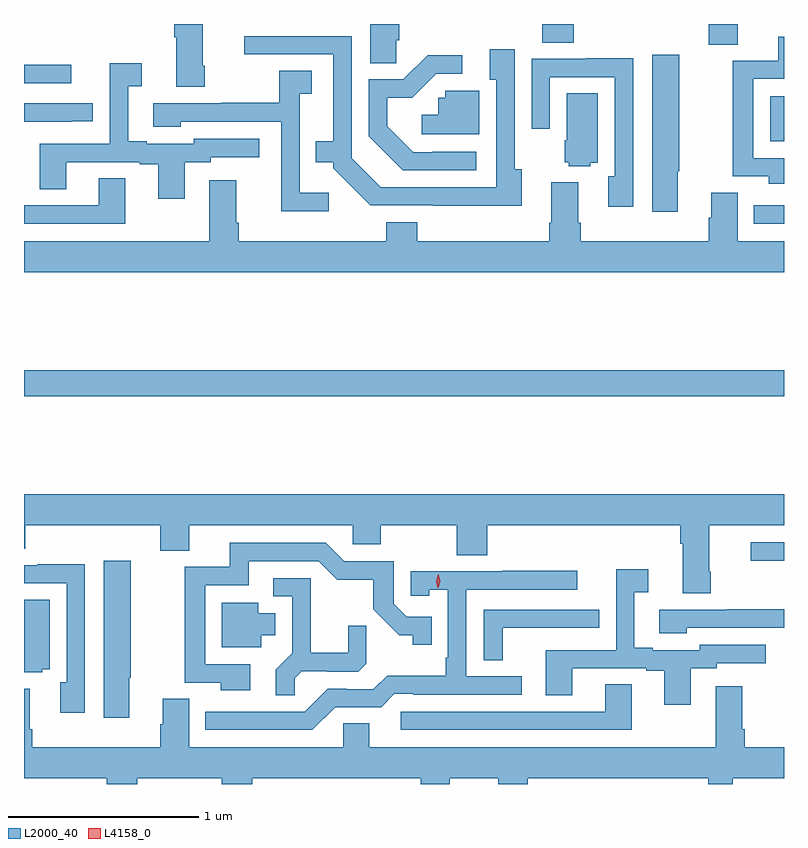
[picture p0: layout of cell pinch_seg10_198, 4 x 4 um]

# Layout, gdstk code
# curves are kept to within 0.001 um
import gdstk
lib = gdstk.Library(unit=1e-6, precision=1e-09)
def R(c, l, rs):  # rectangles x0, y0, x1, y1
    for r in rs: c.add(gdstk.rectangle(r[:2], r[2:], *l))
def P(c, l, *ps):  # polygons
    for p in ps: c.add(gdstk.Polygon(p, *l))
L2000_40 = (2000, 40)
L4158_0 = (4158, 0)

pinch_seg10_198 = lib.new_cell('pinch_seg10_198')
R(pinch_seg10_198, L2000_40, [(780.597,1266.831,780.773,1266.927), (776.773,1267.696,780.773,1267.832), (780.614,1268.604,780.773,1268.7), (780.701,1269.038,780.773,1269.274), (776.773,1269.342,777.022,1269.441), (780.377,1269.547,780.529,1269.655), (779.501,1269.556,779.666,1269.655)])
P(pinch_seg10_198, L2000_40, [(777.723,1269.436),(777.715,1269.436),(777.715,1269.655),(777.563,1269.655),(777.563,1269.584),(777.575,1269.584),(777.575,1269.324),(777.723,1269.324)],
  [(778.733,1269.57),(778.748,1269.57),(778.748,1269.655),(778.595,1269.655),(778.595,1269.448),(778.733,1269.448)],
  [(779.392,1268.89),(779.355,1268.89),(779.355,1269.523),(779.225,1269.523),(779.225,1269.362),(779.259,1269.362),(779.259,1268.796),(778.65,1268.796),(778.497,1268.949),(778.497,1269.591),(777.933,1269.591),(777.933,1269.495),(778.4,1269.495),(778.4,1269.037),(778.309,1269.037),(778.309,1268.927),(778.401,1268.927),(778.401,1268.895),(778.596,1268.7),(779.392,1268.699)],
  [(780.773,1268.949),(780.612,1268.949),(780.612,1269.366),(780.773,1269.366),(780.773,1269.588),(780.743,1269.588),(780.743,1269.462),(780.504,1269.462),(780.504,1268.853),(780.694,1268.853),(780.694,1268.813),(780.773,1268.813)],
  [(780.214,1268.879),(780.222,1268.879),(780.222,1269.493),(780.08,1269.493),(780.08,1268.667),(780.214,1268.667)],
  [(779.152,1268.982),(778.921,1268.982),(778.921,1268.979),(778.821,1268.979),(778.684,1269.116),(778.684,1269.266),(778.817,1269.266),(778.944,1269.393),(779.08,1269.393),(779.08,1269.491),(778.898,1269.491),(778.77,1269.363),(778.587,1269.363),(778.587,1269.065),(778.766,1268.886),(779.152,1268.886)],
  [(779.979,1269.475),(779.729,1269.475),(779.729,1269.471),(779.445,1269.471),(779.445,1269.105),(779.541,1269.105),(779.541,1269.375),(779.883,1269.375),(779.883,1268.855),(779.849,1268.855),(779.849,1268.694),(779.979,1268.694)],
  [(777.619,1268.928),(777.756,1268.928),(777.756,1268.955),(778.012,1268.955),(778.012,1269.051),(777.666,1269.051),(777.666,1269.024),(777.418,1269.024),(777.418,1269.037),(777.322,1269.037),(777.322,1269.328),(777.394,1269.328),(777.394,1269.448),(777.225,1269.448),(777.225,1269.024),(776.855,1269.024),(776.855,1268.785),(776.995,1268.785),(776.995,1268.928),(777.383,1268.928),(777.383,1268.916),(777.479,1268.916),(777.479,1268.736),(777.619,1268.736)],
  [(778.378,1268.767),(778.224,1268.767),(778.224,1269.289),(778.288,1269.289),(778.288,1269.41),(778.116,1269.41),(778.116,1269.24),(777.811,1269.24),(777.811,1269.237),(777.453,1269.237),(777.453,1269.113),(777.597,1269.113),(777.597,1269.141),(778.128,1269.141),(778.128,1268.909),(778.126,1268.909),(778.126,1268.669),(778.378,1268.669)],
  [(779.17,1269.303),(778.989,1269.303),(778.989,1269.267),(778.953,1269.267),(778.953,1269.178),(778.866,1269.178),(778.866,1269.075),(779.17,1269.075)],
  [(779.754,1268.924),(779.794,1268.924),(779.794,1269.29),(779.63,1269.29),(779.63,1269.042),(779.618,1269.042),(779.618,1268.928),(779.64,1268.928),(779.64,1268.906),(779.754,1268.906)],
  [(777.023,1269.142),(777.136,1269.142),(777.136,1269.237),(776.773,1269.237),(776.773,1269.141),(777.023,1269.141)],
  [(777.307,1268.843),(777.167,1268.843),(777.167,1268.7),(776.773,1268.7),(776.773,1268.604),(777.307,1268.604)],
  [(780.773,1268.512),(780.529,1268.512),(780.529,1268.768),(780.389,1268.768),(780.389,1268.634),(780.377,1268.634),(780.377,1268.512),(779.702,1268.512),(779.702,1268.608),(779.689,1268.608),(779.689,1268.821),(779.549,1268.821),(779.549,1268.608),(779.537,1268.608),(779.537,1268.512),(778.844,1268.512),(778.844,1268.611),(778.679,1268.611),(778.679,1268.512),(777.902,1268.512),(777.902,1268.608),(777.889,1268.608),(777.889,1268.833),(777.749,1268.833),(777.749,1268.512),(776.773,1268.512),(776.773,1268.348),(780.773,1268.348)],
  [(780.387,1266.772),(780.379,1266.772),(780.379,1267.016),(780.773,1267.016),(780.773,1267.18),(776.773,1267.18),(776.773,1266.892),(776.78,1266.892),(776.78,1267.016),(777.491,1267.016),(777.491,1266.883),(777.643,1266.883),(777.643,1267.016),(778.503,1267.016),(778.503,1266.918),(778.65,1266.918),(778.65,1267.016),(779.05,1267.016),(779.05,1266.859),(779.21,1266.859),(779.21,1267.016),(780.227,1267.016),(780.227,1266.92),(780.239,1266.92),(780.239,1266.66),(780.387,1266.66)],
  [(777.964,1266.285),(777.726,1266.285),(777.726,1266.702),(777.955,1266.702),(777.955,1266.828),(778.323,1266.828),(778.422,1266.73),(778.611,1266.73),(778.611,1266.574),(778.748,1266.437),(778.818,1266.437),(778.818,1266.387),(778.919,1266.387),(778.919,1266.534),(778.788,1266.534),(778.719,1266.603),(778.719,1266.828),(778.458,1266.828),(778.362,1266.924),(777.857,1266.924),(777.857,1266.798),(777.618,1266.798),(777.618,1266.189),(777.808,1266.189),(777.808,1266.149),(777.964,1266.149)],
  [(777.328,1266.215),(777.336,1266.215),(777.336,1266.829),(777.194,1266.829),(777.194,1266.003),(777.328,1266.003)],
  [(777.093,1266.811),(776.843,1266.811),(776.843,1266.807),(776.773,1266.807),(776.773,1266.711),(776.997,1266.711),(776.997,1266.191),(776.963,1266.191),(776.963,1266.03),(777.093,1266.03)],
  [(780.283,1266.264),(780.42,1266.264),(780.42,1266.291),(780.676,1266.291),(780.676,1266.387),(780.33,1266.387),(780.33,1266.36),(780.082,1266.36),(780.082,1266.373),(779.986,1266.373),(779.986,1266.664),(780.058,1266.664),(780.058,1266.784),(779.889,1266.784),(779.889,1266.36),(779.519,1266.36),(779.519,1266.121),(779.659,1266.121),(779.659,1266.264),(780.047,1266.264),(780.047,1266.252),(780.143,1266.252),(780.143,1266.072),(780.283,1266.072)],
  [(778.41,1266.06),(778.653,1266.06),(778.722,1266.129),(778.822,1266.129),(778.822,1266.126),(779.392,1266.126),(779.392,1266.222),(779.1,1266.222),(779.1,1266.678),(779.686,1266.678),(779.686,1266.777),(779.293,1266.777),(779.293,1266.774),(778.809,1266.774),(778.809,1266.645),(778.905,1266.645),(778.905,1266.677),(779.004,1266.677),(779.004,1266.319),(778.992,1266.319),(778.992,1266.226),(778.684,1266.226),(778.611,1266.153),(778.472,1266.153),(778.472,1266.156),(778.371,1266.156),(778.251,1266.036),(777.728,1266.036),(777.728,1265.94),(778.29,1265.94)],
  [(778.197,1266.212),(778.234,1266.249),(778.368,1266.249),(778.368,1266.246),(778.533,1266.246),(778.574,1266.287),(778.574,1266.489),(778.48,1266.489),(778.48,1266.346),(778.283,1266.346),(778.283,1266.738),(778.086,1266.738),(778.086,1266.642),(778.185,1266.642),(778.185,1266.343),(778.099,1266.257),(778.099,1266.121),(778.197,1266.121)],
  [(776.868,1266.26),(776.908,1266.26),(776.908,1266.626),(776.773,1266.626),(776.773,1266.242),(776.868,1266.242)],
  [(778.021,1266.437),(778.096,1266.437),(778.096,1266.553),(778.006,1266.553),(778.006,1266.61),(777.815,1266.61),(777.815,1266.374),(778.021,1266.374)],
  [(780.261,1266.477),(780.773,1266.477),(780.773,1266.576),(780.475,1266.576),(780.475,1266.573),(780.117,1266.573),(780.117,1266.449),(780.261,1266.449)],
  [(779.292,1266.477),(779.687,1266.477),(779.687,1266.478),(779.8,1266.478),(779.8,1266.573),(779.193,1266.573),(779.193,1266.307),(779.292,1266.307)],
  [(779.971,1266.179),(779.831,1266.179),(779.831,1266.036),(778.755,1266.036),(778.755,1265.94),(779.971,1265.94)],
  [(778.862,1265.655),(779.014,1265.655),(779.014,1265.684),(779.27,1265.684),(779.27,1265.655),(779.423,1265.655),(779.423,1265.684),(780.373,1265.684),(780.373,1265.655),(780.503,1265.655),(780.503,1265.684),(780.773,1265.684),(780.773,1265.848),(780.566,1265.848),(780.566,1265.944),(780.553,1265.944),(780.553,1266.169),(780.413,1266.169),(780.413,1265.848),(778.591,1265.848),(778.591,1265.975),(778.452,1265.975),(778.452,1265.848),(777.643,1265.848),(777.643,1266.104),(777.503,1266.104),(777.503,1265.97),(777.491,1265.97),(777.491,1265.848),(776.816,1265.848),(776.816,1265.944),(776.803,1265.944),(776.803,1266.157),(776.773,1266.157),(776.773,1265.684),(777.209,1265.684),(777.209,1265.655),(777.369,1265.655),(777.369,1265.684),(777.814,1265.684),(777.814,1265.655),(777.974,1265.655),(777.974,1265.684),(778.862,1265.684)])
P(pinch_seg10_198, L4158_0, [(778.951,1266.686),(778.951,1266.687),(778.943,1266.723),(778.954,1266.759),(778.954,1266.759),(778.954,1266.759),(778.963,1266.722),(778.952,1266.687)])

lib.write_gds('pinch_seg10_198.gds')
